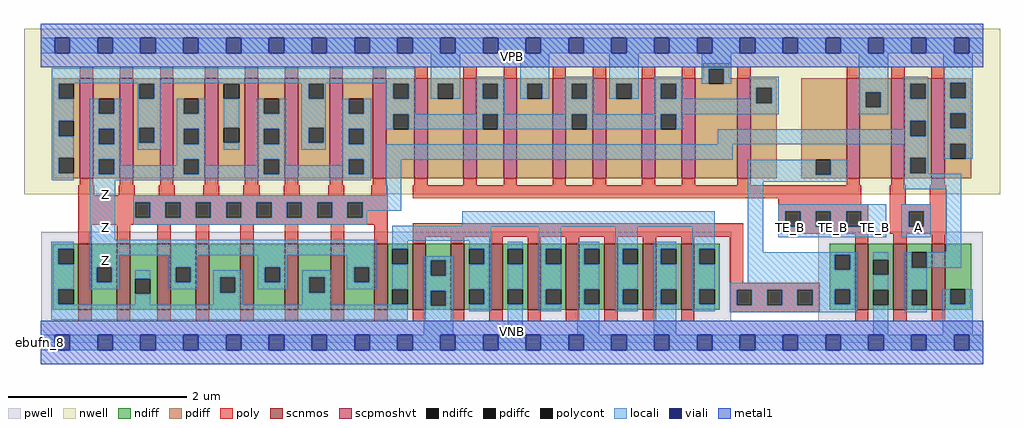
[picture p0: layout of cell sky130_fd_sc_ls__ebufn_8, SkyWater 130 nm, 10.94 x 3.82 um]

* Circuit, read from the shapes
.subckt sky130_fd_sc_ls__ebufn_8 A TE_B VGND VNB VPB VPWR Z
XM1 Z n1 n2 VNB sky130_fd_pr__nfet_01v8 w=0.74 l=0.15 m=8
XM2 VGND n3 n2 VNB sky130_fd_pr__nfet_01v8 w=0.74 l=0.15 m=8
XM3 VGND TE_B n3 VNB sky130_fd_pr__nfet_01v8 w=0.74 l=0.15
XM4 n1 A VGND VNB sky130_fd_pr__nfet_01v8 w=0.74 l=0.15 m=2
XM5 Z n1 n4 VPB sky130_fd_pr__pfet_01v8_hvt w=1.12 l=0.15 m=8
XM6 VPWR TE_B n4 VPB sky130_fd_pr__pfet_01v8_hvt w=1.12 l=0.15 m=8
XM7 VPWR TE_B n3 VPB sky130_fd_pr__pfet_01v8_hvt w=1.12 l=0.15
XM8 n1 A VPWR VPB sky130_fd_pr__pfet_01v8_hvt w=1.12 l=0.15 m=2
.ends

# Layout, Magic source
magic
tech sky130A
magscale 1 2
<< nwell >>
rect -38 332 2150 704
<< pwell >>
rect 1 49 1548 248
rect 1742 49 2111 248
rect 0 0 2112 49
<< scnmos >>
rect 84 74 114 222
rect 170 74 200 222
rect 261 74 291 222
rect 347 74 377 222
rect 447 74 477 222
rect 547 74 577 222
rect 650 74 680 222
rect 747 74 777 222
rect 833 74 863 222
rect 919 74 949 222
rect 1005 74 1035 222
rect 1091 74 1121 222
rect 1177 74 1207 222
rect 1263 74 1293 222
rect 1349 74 1379 222
rect 1435 74 1465 222
rect 1825 74 1855 222
rect 1911 74 1941 222
rect 1997 74 2027 222
<< scpmoshvt >>
rect 87 368 117 592
rect 177 368 207 592
rect 267 368 297 592
rect 367 368 397 592
rect 457 368 487 592
rect 547 368 577 592
rect 647 368 677 592
rect 744 368 774 592
rect 837 368 867 592
rect 947 368 977 592
rect 1037 368 1067 592
rect 1147 368 1177 592
rect 1237 368 1267 592
rect 1347 368 1377 592
rect 1437 368 1467 592
rect 1561 368 1591 592
rect 1806 368 1836 592
rect 1906 368 1936 592
rect 1996 368 2026 592
<< ndiff >>
rect 27 210 84 222
rect 27 176 39 210
rect 73 176 84 210
rect 27 120 84 176
rect 27 86 39 120
rect 73 86 84 120
rect 27 74 84 86
rect 114 169 170 222
rect 114 135 125 169
rect 159 135 170 169
rect 114 74 170 135
rect 200 143 261 222
rect 200 109 211 143
rect 245 109 261 143
rect 200 74 261 109
rect 291 169 347 222
rect 291 135 302 169
rect 336 135 347 169
rect 291 74 347 135
rect 377 146 447 222
rect 377 112 402 146
rect 436 112 447 146
rect 377 74 447 112
rect 477 169 547 222
rect 477 135 502 169
rect 536 135 547 169
rect 477 74 547 135
rect 577 146 650 222
rect 577 112 602 146
rect 636 112 650 146
rect 577 74 650 112
rect 680 169 747 222
rect 680 135 702 169
rect 736 135 747 169
rect 680 74 747 135
rect 777 210 833 222
rect 777 176 788 210
rect 822 176 833 210
rect 777 120 833 176
rect 777 86 788 120
rect 822 86 833 120
rect 777 74 833 86
rect 863 184 919 222
rect 863 150 874 184
rect 908 150 919 184
rect 863 116 919 150
rect 863 82 874 116
rect 908 82 919 116
rect 863 74 919 82
rect 949 210 1005 222
rect 949 176 960 210
rect 994 176 1005 210
rect 949 120 1005 176
rect 949 86 960 120
rect 994 86 1005 120
rect 949 74 1005 86
rect 1035 210 1091 222
rect 1035 176 1046 210
rect 1080 176 1091 210
rect 1035 120 1091 176
rect 1035 86 1046 120
rect 1080 86 1091 120
rect 1035 74 1091 86
rect 1121 210 1177 222
rect 1121 176 1132 210
rect 1166 176 1177 210
rect 1121 120 1177 176
rect 1121 86 1132 120
rect 1166 86 1177 120
rect 1121 74 1177 86
rect 1207 210 1263 222
rect 1207 176 1218 210
rect 1252 176 1263 210
rect 1207 120 1263 176
rect 1207 86 1218 120
rect 1252 86 1263 120
rect 1207 74 1263 86
rect 1293 210 1349 222
rect 1293 176 1304 210
rect 1338 176 1349 210
rect 1293 120 1349 176
rect 1293 86 1304 120
rect 1338 86 1349 120
rect 1293 74 1349 86
rect 1379 210 1435 222
rect 1379 176 1390 210
rect 1424 176 1435 210
rect 1379 120 1435 176
rect 1379 86 1390 120
rect 1424 86 1435 120
rect 1379 74 1435 86
rect 1465 210 1522 222
rect 1465 176 1476 210
rect 1510 176 1522 210
rect 1465 120 1522 176
rect 1465 86 1476 120
rect 1510 86 1522 120
rect 1465 74 1522 86
rect 1768 197 1825 222
rect 1768 163 1780 197
rect 1814 163 1825 197
rect 1768 120 1825 163
rect 1768 86 1780 120
rect 1814 86 1825 120
rect 1768 74 1825 86
rect 1855 186 1911 222
rect 1855 152 1866 186
rect 1900 152 1911 186
rect 1855 118 1911 152
rect 1855 84 1866 118
rect 1900 84 1911 118
rect 1855 74 1911 84
rect 1941 202 1997 222
rect 1941 168 1952 202
rect 1986 168 1997 202
rect 1941 118 1997 168
rect 1941 84 1952 118
rect 1986 84 1997 118
rect 1941 74 1997 84
rect 2027 120 2085 222
rect 2027 86 2038 120
rect 2072 86 2085 120
rect 2027 74 2085 86
<< pdiff >>
rect 1485 614 1543 626
rect 1485 592 1497 614
rect 28 580 87 592
rect 28 546 40 580
rect 74 546 87 580
rect 28 497 87 546
rect 28 463 40 497
rect 74 463 87 497
rect 28 414 87 463
rect 28 380 40 414
rect 74 380 87 414
rect 28 368 87 380
rect 117 547 177 592
rect 117 513 130 547
rect 164 513 177 547
rect 117 479 177 513
rect 117 445 130 479
rect 164 445 177 479
rect 117 411 177 445
rect 117 377 130 411
rect 164 377 177 411
rect 117 368 177 377
rect 207 580 267 592
rect 207 546 220 580
rect 254 546 267 580
rect 207 482 267 546
rect 207 448 220 482
rect 254 448 267 482
rect 207 368 267 448
rect 297 547 367 592
rect 297 513 320 547
rect 354 513 367 547
rect 297 479 367 513
rect 297 445 320 479
rect 354 445 367 479
rect 297 411 367 445
rect 297 377 320 411
rect 354 377 367 411
rect 297 368 367 377
rect 397 580 457 592
rect 397 546 410 580
rect 444 546 457 580
rect 397 482 457 546
rect 397 448 410 482
rect 444 448 457 482
rect 397 368 457 448
rect 487 547 547 592
rect 487 513 500 547
rect 534 513 547 547
rect 487 479 547 513
rect 487 445 500 479
rect 534 445 547 479
rect 487 411 547 445
rect 487 377 500 411
rect 534 377 547 411
rect 487 368 547 377
rect 577 580 647 592
rect 577 546 600 580
rect 634 546 647 580
rect 577 482 647 546
rect 577 448 600 482
rect 634 448 647 482
rect 577 368 647 448
rect 677 547 744 592
rect 677 513 690 547
rect 724 513 744 547
rect 677 479 744 513
rect 677 445 690 479
rect 724 445 744 479
rect 677 411 744 445
rect 677 377 690 411
rect 724 377 744 411
rect 677 368 744 377
rect 774 580 837 592
rect 774 546 790 580
rect 824 546 837 580
rect 774 512 837 546
rect 774 478 790 512
rect 824 478 837 512
rect 774 368 837 478
rect 867 580 947 592
rect 867 546 890 580
rect 924 546 947 580
rect 867 368 947 546
rect 977 580 1037 592
rect 977 546 990 580
rect 1024 546 1037 580
rect 977 512 1037 546
rect 977 478 990 512
rect 1024 478 1037 512
rect 977 368 1037 478
rect 1067 580 1147 592
rect 1067 546 1090 580
rect 1124 546 1147 580
rect 1067 368 1147 546
rect 1177 580 1237 592
rect 1177 546 1190 580
rect 1224 546 1237 580
rect 1177 512 1237 546
rect 1177 478 1190 512
rect 1224 478 1237 512
rect 1177 368 1237 478
rect 1267 580 1347 592
rect 1267 546 1290 580
rect 1324 546 1347 580
rect 1267 368 1347 546
rect 1377 580 1437 592
rect 1377 546 1390 580
rect 1424 546 1437 580
rect 1377 512 1437 546
rect 1377 478 1390 512
rect 1424 478 1437 512
rect 1377 368 1437 478
rect 1467 580 1497 592
rect 1531 592 1543 614
rect 1531 580 1561 592
rect 1467 368 1561 580
rect 1591 571 1650 592
rect 1591 537 1604 571
rect 1638 537 1650 571
rect 1591 368 1650 537
rect 1704 410 1806 592
rect 1704 376 1737 410
rect 1771 376 1806 410
rect 1704 368 1806 376
rect 1836 561 1906 592
rect 1836 527 1849 561
rect 1883 527 1906 561
rect 1836 368 1906 527
rect 1936 580 1996 592
rect 1936 546 1949 580
rect 1983 546 1996 580
rect 1936 497 1996 546
rect 1936 463 1949 497
rect 1983 463 1996 497
rect 1936 414 1996 463
rect 1936 380 1949 414
rect 1983 380 1996 414
rect 1936 368 1996 380
rect 2026 582 2085 592
rect 2026 548 2039 582
rect 2073 548 2085 582
rect 2026 514 2085 548
rect 2026 480 2039 514
rect 2073 480 2085 514
rect 2026 446 2085 480
rect 2026 412 2039 446
rect 2073 412 2085 446
rect 2026 368 2085 412
<< ndiffc >>
rect 39 176 73 210
rect 39 86 73 120
rect 125 135 159 169
rect 211 109 245 143
rect 302 135 336 169
rect 402 112 436 146
rect 502 135 536 169
rect 602 112 636 146
rect 702 135 736 169
rect 788 176 822 210
rect 788 86 822 120
rect 874 150 908 184
rect 874 82 908 116
rect 960 176 994 210
rect 960 86 994 120
rect 1046 176 1080 210
rect 1046 86 1080 120
rect 1132 176 1166 210
rect 1132 86 1166 120
rect 1218 176 1252 210
rect 1218 86 1252 120
rect 1304 176 1338 210
rect 1304 86 1338 120
rect 1390 176 1424 210
rect 1390 86 1424 120
rect 1476 176 1510 210
rect 1476 86 1510 120
rect 1780 163 1814 197
rect 1780 86 1814 120
rect 1866 152 1900 186
rect 1866 84 1900 118
rect 1952 168 1986 202
rect 1952 84 1986 118
rect 2038 86 2072 120
<< pdiffc >>
rect 40 546 74 580
rect 40 463 74 497
rect 40 380 74 414
rect 130 513 164 547
rect 130 445 164 479
rect 130 377 164 411
rect 220 546 254 580
rect 220 448 254 482
rect 320 513 354 547
rect 320 445 354 479
rect 320 377 354 411
rect 410 546 444 580
rect 410 448 444 482
rect 500 513 534 547
rect 500 445 534 479
rect 500 377 534 411
rect 600 546 634 580
rect 600 448 634 482
rect 690 513 724 547
rect 690 445 724 479
rect 690 377 724 411
rect 790 546 824 580
rect 790 478 824 512
rect 890 546 924 580
rect 990 546 1024 580
rect 990 478 1024 512
rect 1090 546 1124 580
rect 1190 546 1224 580
rect 1190 478 1224 512
rect 1290 546 1324 580
rect 1390 546 1424 580
rect 1390 478 1424 512
rect 1497 580 1531 614
rect 1604 537 1638 571
rect 1737 376 1771 410
rect 1849 527 1883 561
rect 1949 546 1983 580
rect 1949 463 1983 497
rect 1949 380 1983 414
rect 2039 548 2073 582
rect 2039 480 2073 514
rect 2039 412 2073 446
<< poly >>
rect 87 592 117 618
rect 177 592 207 618
rect 267 592 297 618
rect 367 592 397 618
rect 457 592 487 618
rect 547 592 577 618
rect 647 592 677 618
rect 744 592 774 618
rect 837 592 867 618
rect 947 592 977 618
rect 1037 592 1067 618
rect 1147 592 1177 618
rect 1237 592 1267 618
rect 1347 592 1377 618
rect 1437 592 1467 618
rect 1561 592 1591 618
rect 1806 592 1836 618
rect 1906 592 1936 618
rect 1996 592 2026 618
rect 87 353 117 368
rect 177 353 207 368
rect 267 353 297 368
rect 367 353 397 368
rect 457 353 487 368
rect 547 353 577 368
rect 647 353 677 368
rect 744 353 774 368
rect 837 353 867 368
rect 947 353 977 368
rect 1037 353 1067 368
rect 1147 353 1177 368
rect 1237 353 1267 368
rect 1347 353 1377 368
rect 1437 353 1467 368
rect 1561 353 1591 368
rect 1806 353 1836 368
rect 1906 353 1936 368
rect 1996 353 2026 368
rect 84 330 120 353
rect 174 330 210 353
rect 264 330 300 353
rect 364 330 400 353
rect 454 330 490 353
rect 544 330 580 353
rect 644 330 680 353
rect 741 330 777 353
rect 84 314 777 330
rect 834 323 1839 353
rect 84 280 211 314
rect 245 280 279 314
rect 313 280 347 314
rect 381 280 415 314
rect 449 280 483 314
rect 517 280 551 314
rect 585 280 619 314
rect 653 280 687 314
rect 721 280 777 314
rect 84 264 777 280
rect 1653 310 1839 323
rect 1903 310 1939 353
rect 1993 310 2029 353
rect 1653 294 1855 310
rect 84 222 114 264
rect 170 222 200 264
rect 261 222 291 264
rect 347 222 377 264
rect 447 222 477 264
rect 547 222 577 264
rect 650 222 680 264
rect 747 222 777 264
rect 833 237 1574 267
rect 1653 260 1669 294
rect 1703 260 1737 294
rect 1771 260 1805 294
rect 1839 260 1855 294
rect 1653 244 1855 260
rect 1903 294 2029 310
rect 1903 260 1945 294
rect 1979 260 2029 294
rect 1903 244 2029 260
rect 833 222 863 237
rect 919 222 949 237
rect 1005 222 1035 237
rect 1091 222 1121 237
rect 1177 222 1207 237
rect 1263 222 1293 237
rect 1349 222 1379 237
rect 1435 222 1465 237
rect 1544 134 1574 237
rect 1825 222 1855 244
rect 1911 222 1941 244
rect 1997 222 2027 244
rect 1544 118 1746 134
rect 1544 84 1560 118
rect 1594 84 1628 118
rect 1662 84 1696 118
rect 1730 84 1746 118
rect 84 48 114 74
rect 170 48 200 74
rect 261 48 291 74
rect 347 48 377 74
rect 447 48 477 74
rect 547 48 577 74
rect 650 48 680 74
rect 747 48 777 74
rect 833 48 863 74
rect 919 48 949 74
rect 1005 48 1035 74
rect 1091 48 1121 74
rect 1177 48 1207 74
rect 1263 48 1293 74
rect 1349 48 1379 74
rect 1435 48 1465 74
rect 1544 68 1746 84
rect 1825 48 1855 74
rect 1911 48 1941 74
rect 1997 48 2027 74
<< polycont >>
rect 211 280 245 314
rect 279 280 313 314
rect 347 280 381 314
rect 415 280 449 314
rect 483 280 517 314
rect 551 280 585 314
rect 619 280 653 314
rect 687 280 721 314
rect 1669 260 1703 294
rect 1737 260 1771 294
rect 1805 260 1839 294
rect 1945 260 1979 294
rect 1560 84 1594 118
rect 1628 84 1662 118
rect 1696 84 1730 118
<< locali >>
rect 0 649 31 683
rect 65 649 127 683
rect 161 649 223 683
rect 257 649 319 683
rect 353 649 415 683
rect 449 649 511 683
rect 545 649 607 683
rect 641 649 703 683
rect 737 649 799 683
rect 833 649 895 683
rect 929 649 991 683
rect 1025 649 1087 683
rect 1121 649 1183 683
rect 1217 649 1279 683
rect 1313 649 1375 683
rect 1409 649 1471 683
rect 1505 649 1567 683
rect 1601 649 1663 683
rect 1697 649 1759 683
rect 1793 649 1855 683
rect 1889 649 1951 683
rect 1985 649 2047 683
rect 2081 649 2112 683
rect 24 581 840 615
rect 24 580 74 581
rect 24 546 40 580
rect 217 580 270 581
rect 24 497 74 546
rect 24 463 40 497
rect 24 414 74 463
rect 24 380 40 414
rect 24 364 74 380
rect 109 513 130 547
rect 164 513 180 547
rect 109 479 180 513
rect 109 445 130 479
rect 164 445 180 479
rect 109 411 180 445
rect 217 546 220 580
rect 254 546 270 580
rect 410 580 444 581
rect 217 482 270 546
rect 217 448 220 482
rect 254 448 270 482
rect 217 432 270 448
rect 304 513 320 547
rect 354 513 370 547
rect 304 479 370 513
rect 304 445 320 479
rect 354 445 370 479
rect 109 377 130 411
rect 164 398 180 411
rect 304 411 370 445
rect 584 580 638 581
rect 410 482 444 546
rect 410 432 444 448
rect 484 513 500 547
rect 534 513 550 547
rect 484 479 550 513
rect 484 445 500 479
rect 534 445 550 479
rect 304 398 320 411
rect 164 377 320 398
rect 354 398 370 411
rect 484 411 550 445
rect 584 546 600 580
rect 634 546 638 580
rect 774 580 840 581
rect 584 482 638 546
rect 584 448 600 482
rect 634 448 638 482
rect 584 432 638 448
rect 674 513 690 547
rect 724 513 740 547
rect 674 479 740 513
rect 674 445 690 479
rect 724 445 740 479
rect 774 546 790 580
rect 824 546 840 580
rect 874 580 940 649
rect 874 546 890 580
rect 924 546 940 580
rect 974 580 1040 596
rect 974 546 990 580
rect 1024 546 1040 580
rect 1074 580 1140 649
rect 1074 546 1090 580
rect 1124 546 1140 580
rect 1174 580 1240 596
rect 1174 546 1190 580
rect 1224 546 1240 580
rect 1274 580 1340 649
rect 1481 614 1547 649
rect 1274 546 1290 580
rect 1324 546 1340 580
rect 1374 580 1440 596
rect 1481 580 1497 614
rect 1531 580 1547 614
rect 1374 546 1390 580
rect 1424 546 1440 580
rect 1588 571 1654 596
rect 1588 546 1604 571
rect 774 512 840 546
rect 974 512 1040 546
rect 1174 512 1240 546
rect 1374 537 1604 546
rect 1638 537 1654 571
rect 1374 512 1654 537
rect 1833 561 1899 649
rect 1833 527 1849 561
rect 1883 527 1899 561
rect 1833 512 1899 527
rect 1933 580 1989 596
rect 1933 546 1949 580
rect 1983 546 1989 580
rect 774 478 790 512
rect 824 478 990 512
rect 1024 478 1190 512
rect 1224 478 1390 512
rect 1424 478 1440 512
rect 1933 497 1989 546
rect 1933 478 1949 497
rect 484 398 500 411
rect 354 377 500 398
rect 534 398 550 411
rect 674 411 740 445
rect 1517 463 1949 478
rect 1983 463 1989 497
rect 1517 444 1989 463
rect 674 398 690 411
rect 534 377 690 398
rect 724 377 740 411
rect 109 364 740 377
rect 774 410 1551 444
rect 1933 414 1989 444
rect 109 230 167 364
rect 774 330 808 410
rect 207 314 808 330
rect 207 280 211 314
rect 245 280 279 314
rect 313 280 347 314
rect 381 280 415 314
rect 449 280 483 314
rect 517 280 551 314
rect 585 280 619 314
rect 653 280 687 314
rect 721 296 808 314
rect 1585 376 1737 410
rect 1771 376 1809 410
rect 1585 360 1809 376
rect 1933 380 1949 414
rect 1983 380 1989 414
rect 2023 582 2089 649
rect 2023 548 2039 582
rect 2073 548 2089 582
rect 2023 514 2089 548
rect 2023 480 2039 514
rect 2073 480 2089 514
rect 2023 446 2089 480
rect 2023 412 2039 446
rect 2073 412 2089 446
rect 1933 378 1989 380
rect 721 280 731 296
rect 207 264 731 280
rect 944 262 1510 294
rect 788 260 1510 262
rect 23 210 73 226
rect 23 176 39 210
rect 23 120 73 176
rect 23 86 39 120
rect 109 196 752 230
rect 109 169 175 196
rect 109 135 125 169
rect 159 135 175 169
rect 286 169 352 196
rect 109 119 175 135
rect 211 143 245 162
rect 23 85 73 86
rect 286 135 302 169
rect 336 135 352 169
rect 486 169 552 196
rect 286 119 352 135
rect 386 146 452 162
rect 211 85 245 109
rect 386 112 402 146
rect 436 112 452 146
rect 486 135 502 169
rect 536 135 552 169
rect 686 169 752 196
rect 486 119 552 135
rect 586 146 652 162
rect 386 85 452 112
rect 586 112 602 146
rect 636 112 652 146
rect 686 135 702 169
rect 736 135 752 169
rect 686 119 752 135
rect 788 228 1010 260
rect 788 210 822 228
rect 960 210 1010 228
rect 788 120 822 176
rect 586 85 652 112
rect 788 85 822 86
rect 23 51 822 85
rect 858 184 924 194
rect 858 150 874 184
rect 908 150 924 184
rect 858 116 924 150
rect 858 82 874 116
rect 908 82 924 116
rect 858 17 924 82
rect 994 176 1010 210
rect 960 120 1010 176
rect 994 86 1010 120
rect 960 70 1010 86
rect 1046 210 1080 226
rect 1046 120 1080 176
rect 1046 17 1080 86
rect 1116 210 1166 260
rect 1116 176 1132 210
rect 1116 120 1166 176
rect 1116 86 1132 120
rect 1116 70 1166 86
rect 1202 210 1252 226
rect 1202 176 1218 210
rect 1202 120 1252 176
rect 1202 86 1218 120
rect 1202 17 1252 86
rect 1288 210 1338 260
rect 1288 176 1304 210
rect 1288 120 1338 176
rect 1288 86 1304 120
rect 1288 70 1338 86
rect 1374 210 1424 226
rect 1374 176 1390 210
rect 1374 120 1424 176
rect 1374 86 1390 120
rect 1374 17 1424 86
rect 1460 210 1510 260
rect 1460 176 1476 210
rect 1460 120 1510 176
rect 1585 202 1619 360
rect 1933 344 2063 378
rect 1653 294 1895 310
rect 1653 260 1669 294
rect 1703 260 1737 294
rect 1771 260 1805 294
rect 1839 260 1895 294
rect 1653 236 1895 260
rect 1929 294 1995 310
rect 1929 260 1945 294
rect 1979 260 1995 294
rect 1929 236 1995 260
rect 2029 202 2063 344
rect 1585 197 1830 202
rect 1585 163 1780 197
rect 1814 163 1830 197
rect 1585 134 1830 163
rect 1460 86 1476 120
rect 1460 70 1510 86
rect 1544 120 1830 134
rect 1544 118 1780 120
rect 1544 84 1560 118
rect 1594 84 1628 118
rect 1662 84 1696 118
rect 1730 86 1780 118
rect 1814 86 1830 120
rect 1730 84 1830 86
rect 1544 68 1830 84
rect 1866 186 1900 202
rect 1866 118 1900 152
rect 1866 17 1900 84
rect 1936 168 1952 202
rect 1986 168 2063 202
rect 1936 118 1986 168
rect 1936 84 1952 118
rect 1936 68 1986 84
rect 2022 86 2038 120
rect 2072 86 2089 120
rect 2022 17 2089 86
rect 0 -17 31 17
rect 65 -17 127 17
rect 161 -17 223 17
rect 257 -17 319 17
rect 353 -17 415 17
rect 449 -17 511 17
rect 545 -17 607 17
rect 641 -17 703 17
rect 737 -17 799 17
rect 833 -17 895 17
rect 929 -17 991 17
rect 1025 -17 1087 17
rect 1121 -17 1183 17
rect 1217 -17 1279 17
rect 1313 -17 1375 17
rect 1409 -17 1471 17
rect 1505 -17 1567 17
rect 1601 -17 1663 17
rect 1697 -17 1759 17
rect 1793 -17 1855 17
rect 1889 -17 1951 17
rect 1985 -17 2047 17
rect 2081 -17 2112 17
<< viali >>
rect 31 649 65 683
rect 127 649 161 683
rect 223 649 257 683
rect 319 649 353 683
rect 415 649 449 683
rect 511 649 545 683
rect 607 649 641 683
rect 703 649 737 683
rect 799 649 833 683
rect 895 649 929 683
rect 991 649 1025 683
rect 1087 649 1121 683
rect 1183 649 1217 683
rect 1279 649 1313 683
rect 1375 649 1409 683
rect 1471 649 1505 683
rect 1567 649 1601 683
rect 1663 649 1697 683
rect 1759 649 1793 683
rect 1855 649 1889 683
rect 1951 649 1985 683
rect 2047 649 2081 683
rect 31 -17 65 17
rect 127 -17 161 17
rect 223 -17 257 17
rect 319 -17 353 17
rect 415 -17 449 17
rect 511 -17 545 17
rect 607 -17 641 17
rect 703 -17 737 17
rect 799 -17 833 17
rect 895 -17 929 17
rect 991 -17 1025 17
rect 1087 -17 1121 17
rect 1183 -17 1217 17
rect 1279 -17 1313 17
rect 1375 -17 1409 17
rect 1471 -17 1505 17
rect 1567 -17 1601 17
rect 1663 -17 1697 17
rect 1759 -17 1793 17
rect 1855 -17 1889 17
rect 1951 -17 1985 17
rect 2047 -17 2081 17
<< metal1 >>
rect 0 683 2112 715
rect 0 649 31 683
rect 65 649 127 683
rect 161 649 223 683
rect 257 649 319 683
rect 353 649 415 683
rect 449 649 511 683
rect 545 649 607 683
rect 641 649 703 683
rect 737 649 799 683
rect 833 649 895 683
rect 929 649 991 683
rect 1025 649 1087 683
rect 1121 649 1183 683
rect 1217 649 1279 683
rect 1313 649 1375 683
rect 1409 649 1471 683
rect 1505 649 1567 683
rect 1601 649 1663 683
rect 1697 649 1759 683
rect 1793 649 1855 683
rect 1889 649 1951 683
rect 1985 649 2047 683
rect 2081 649 2112 683
rect 0 617 2112 649
rect 0 17 2112 49
rect 0 -17 31 17
rect 65 -17 127 17
rect 161 -17 223 17
rect 257 -17 319 17
rect 353 -17 415 17
rect 449 -17 511 17
rect 545 -17 607 17
rect 641 -17 703 17
rect 737 -17 799 17
rect 833 -17 895 17
rect 929 -17 991 17
rect 1025 -17 1087 17
rect 1121 -17 1183 17
rect 1217 -17 1279 17
rect 1313 -17 1375 17
rect 1409 -17 1471 17
rect 1505 -17 1567 17
rect 1601 -17 1663 17
rect 1697 -17 1759 17
rect 1793 -17 1855 17
rect 1889 -17 1951 17
rect 1985 -17 2047 17
rect 2081 -17 2112 17
rect 0 -49 2112 -17
<< labels >>
rlabel comment s 0 0 0 0 4 ebufn_8
flabel pwell s 0 0 2112 49 0 FreeSans 200 0 0 0 VNB
port 4 nsew ground bidirectional
flabel nwell s 0 617 2112 666 0 FreeSans 200 0 0 0 VPB
port 5 nsew power bidirectional
flabel metal1 s 0 617 2112 666 0 FreeSans 340 0 0 0 VPWR
port 6 nsew power bidirectional abutment
flabel metal1 s 0 0 2112 49 0 FreeSans 340 0 0 0 VGND
port 3 nsew ground bidirectional abutment
flabel locali s 1663 242 1697 276 0 FreeSans 340 0 0 0 TE_B
port 2 nsew signal input
flabel locali s 1759 242 1793 276 0 FreeSans 340 0 0 0 TE_B
port 2 nsew signal input
flabel locali s 1855 242 1889 276 0 FreeSans 340 0 0 0 TE_B
port 2 nsew signal input
flabel locali s 1951 242 1985 276 0 FreeSans 340 0 0 0 A
port 1 nsew signal input
flabel locali s 127 168 161 202 0 FreeSans 340 0 0 0 Z
port 7 nsew signal output
flabel locali s 127 242 161 276 0 FreeSans 340 0 0 0 Z
port 7 nsew signal output
flabel locali s 127 316 161 350 0 FreeSans 340 0 0 0 Z
port 7 nsew signal output
<< properties >>
string LEFsite unit
string LEFclass CORE
string FIXED_BBOX 0 0 2112 666
string GDS_FILE $PDKPATH/libs.ref/sky130_fd_sc_ls/gds/sky130_fd_sc_ls.gds
string LEFsymmetry X Y
string GDS_END 1622282
string GDS_START 1607508
<< end >>
